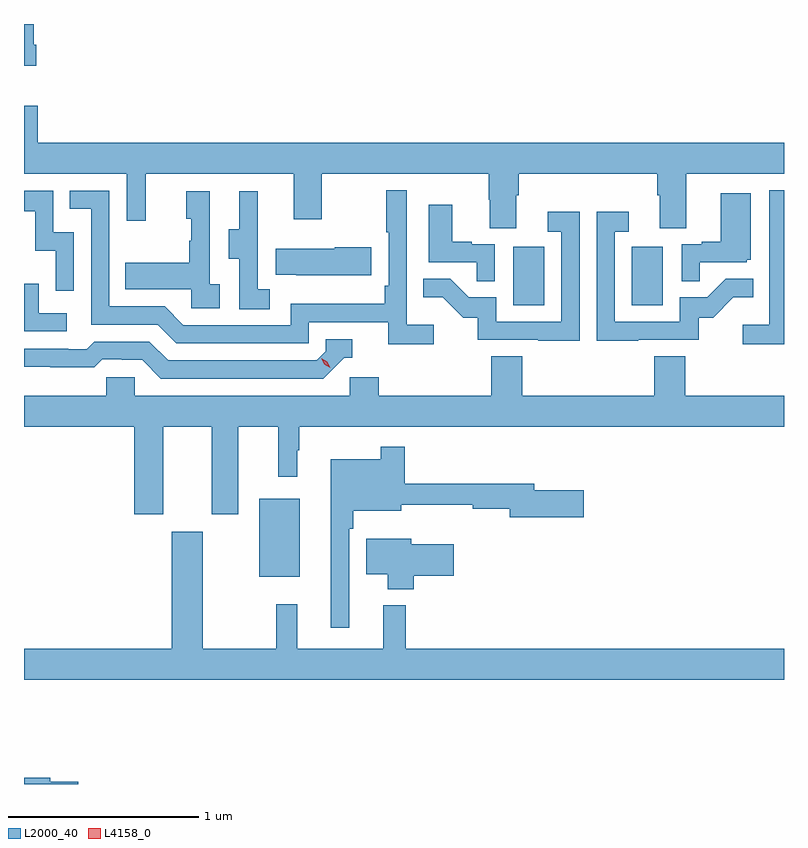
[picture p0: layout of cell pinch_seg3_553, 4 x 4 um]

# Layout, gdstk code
import gdstk
lib = gdstk.Library(unit=1e-6, precision=1e-09)
def R(c, l, rs):  # rectangles x0, y0, x1, y1
    for r in rs: c.add(gdstk.rectangle(r[:2], r[2:], *l))
def P(c, l, *ps):  # polygons
    for p in ps: c.add(gdstk.Polygon(p, *l))
L2000_40 = (2000, 40)
L4158_0 = (4158, 0)

pinch_seg3_553 = lib.new_cell('pinch_seg3_553')
R(pinch_seg3_553, L2000_40, [(1105.082,702.791,1105.297,703.201), (1106.42,704.22,1106.584,704.527), (1107.044,704.22,1107.208,704.527)])
P(pinch_seg3_553, L2000_40, [(1103.909,705.592),(1103.896,705.592),(1103.896,705.7),(1103.845,705.7),(1103.845,705.48),(1103.909,705.48)],
  [(1106.437,704.8),(1106.45,704.8),(1106.45,704.912),(1107.179,704.912),(1107.179,704.8),(1107.191,704.8),(1107.191,704.626),(1107.331,704.626),(1107.331,704.912),(1107.845,704.912),(1107.845,705.076),(1103.918,705.076),(1103.918,705.271),(1103.845,705.271),(1103.845,704.912),(1104.387,704.912),(1104.387,704.664),(1104.485,704.664),(1104.485,704.912),(1105.265,704.912),(1105.265,704.673),(1105.413,704.673),(1105.413,704.912),(1106.29,704.912),(1106.29,704.775),(1106.297,704.775),(1106.297,704.626),(1106.437,704.626)],
  [(1106.002,704.116),(1105.86,704.116),(1105.86,704.824),(1105.752,704.824),(1105.752,704.605),(1105.764,704.605),(1105.764,704.323),(1105.744,704.323),(1105.744,704.227),(1105.248,704.227),(1105.248,704.115),(1104.684,704.115),(1104.585,704.214),(1104.294,704.214),(1104.294,704.823),(1104.085,704.823),(1104.085,704.727),(1104.198,704.727),(1104.198,704.118),(1104.548,704.118),(1104.647,704.019),(1105.344,704.019),(1105.344,704.13),(1105.763,704.13),(1105.763,704.014),(1106.002,704.014)],
  [(1107.845,704.824),(1107.768,704.824),(1107.768,704.116),(1107.627,704.116),(1107.627,704.014),(1107.845,704.014)],
  [(1104.108,704.604),(1104,704.604),(1104,704.823),(1103.845,704.823),(1103.845,704.715),(1103.903,704.715),(1103.903,704.507),(1104.012,704.507),(1104.012,704.295),(1104.108,704.295)],
  [(1104.874,704.33),(1104.822,704.33),(1104.822,704.821),(1104.698,704.821),(1104.698,704.676),(1104.724,704.676),(1104.724,704.558),(1104.714,704.558),(1104.714,704.443),(1104.379,704.443),(1104.379,704.303),(1104.726,704.303),(1104.726,704.205),(1104.874,704.205)],
  [(1105.138,704.303),(1105.074,704.303),(1105.074,704.607),(1105.076,704.607),(1105.076,704.821),(1104.977,704.821),(1104.977,704.619),(1104.923,704.619),(1104.923,704.464),(1104.978,704.464),(1104.978,704.2),(1105.138,704.2)],
  [(1107.401,704.445),(1107.648,704.445),(1107.648,704.46),(1107.67,704.46),(1107.67,704.809),(1107.512,704.809),(1107.512,704.554),(1107.413,704.554),(1107.413,704.541),(1107.306,704.541),(1107.306,704.347),(1107.401,704.347)],
  [(1106.322,704.541),(1106.201,704.541),(1106.201,704.554),(1106.098,704.554),(1106.098,704.749),(1105.976,704.749),(1105.976,704.445),(1106.227,704.445),(1106.227,704.347),(1106.322,704.347)],
  [(1106.769,704.713),(1106.601,704.713),(1106.601,704.607),(1106.673,704.607),(1106.673,704.133),(1106.331,704.133),(1106.331,704.262),(1106.186,704.262),(1106.088,704.36),(1105.945,704.36),(1105.945,704.261),(1106.049,704.261),(1106.156,704.154),(1106.233,704.154),(1106.233,704.037),(1106.551,704.037),(1106.551,704.032),(1106.769,704.032)],
  [(1107.077,704.037),(1107.396,704.037),(1107.396,704.154),(1107.472,704.154),(1107.579,704.261),(1107.683,704.261),(1107.683,704.36),(1107.539,704.36),(1107.441,704.262),(1107.297,704.262),(1107.297,704.133),(1106.955,704.133),(1106.955,704.607),(1107.028,704.607),(1107.028,704.713),(1106.859,704.713),(1106.859,704.032),(1107.077,704.032)],
  [(1105.672,704.526),(1105.481,704.526),(1105.481,704.518),(1105.171,704.518),(1105.171,704.381),(1105.279,704.381),(1105.279,704.378),(1105.672,704.378)],
  [(1104.07,704.178),(1103.922,704.178),(1103.922,704.332),(1103.845,704.332),(1103.845,704.082),(1104.07,704.082)],
  [(1105.53,703.944),(1105.573,703.944),(1105.573,704.04),(1105.434,704.04),(1105.434,703.977),(1105.386,703.929),(1104.603,703.929),(1104.504,704.028),(1104.215,704.028),(1104.176,703.989),(1104.077,703.989),(1104.077,703.992),(1103.845,703.992),(1103.845,703.895),(1103.982,703.895),(1103.982,703.893),(1104.215,703.893),(1104.257,703.935),(1104.36,703.935),(1104.36,703.932),(1104.467,703.932),(1104.566,703.833),(1105.419,703.833)],
  [(1104.577,703.58),(1104.833,703.58),(1104.833,703.119),(1104.973,703.119),(1104.973,703.58),(1105.184,703.58),(1105.184,703.317),(1105.282,703.317),(1105.282,703.457),(1105.294,703.457),(1105.294,703.58),(1107.845,703.58),(1107.845,703.744),(1107.326,703.744),(1107.326,703.952),(1107.161,703.952),(1107.161,703.744),(1106.468,703.744),(1106.468,703.952),(1106.303,703.952),(1106.303,703.744),(1105.712,703.744),(1105.712,703.842),(1105.56,703.842),(1105.56,703.744),(1104.429,703.744),(1104.429,703.842),(1104.279,703.842),(1104.279,703.744),(1103.845,703.744),(1103.845,703.58),(1104.425,703.58),(1104.425,703.119),(1104.577,703.119)],
  [(1105.557,703.043),(1105.577,703.043),(1105.577,703.139),(1105.831,703.139),(1105.831,703.169),(1106.206,703.169),(1106.206,703.15),(1106.402,703.15),(1106.402,703.103),(1106.791,703.103),(1106.791,703.245),(1106.53,703.245),(1106.53,703.279),(1105.85,703.279),(1105.85,703.474),(1105.722,703.474),(1105.722,703.408),(1105.46,703.408),(1105.46,702.522),(1105.557,702.522)],
  [(1107.845,702.412),(1105.853,702.412),(1105.853,702.64),(1105.736,702.64),(1105.736,702.412),(1105.283,702.412),(1105.283,702.646),(1105.173,702.646),(1105.173,702.412),(1104.787,702.412),(1104.787,703.027),(1104.623,703.027),(1104.623,702.412),(1103.845,702.412),(1103.845,702.248),(1107.845,702.248)],
  [(1105.895,702.796),(1106.107,702.796),(1106.107,702.961),(1105.882,702.961),(1105.882,702.991),(1105.646,702.991),(1105.646,702.803),(1105.76,702.803),(1105.76,702.725),(1105.895,702.725)],
  [(1104.131,701.712),(1103.984,701.712),(1103.984,701.732),(1103.845,701.732),(1103.845,701.7),(1104.131,701.7)])
P(pinch_seg3_553, L4158_0, [(1105.456,703.89),(1105.425,703.909),(1105.409,703.942),(1105.409,703.942),(1105.409,703.942),(1105.44,703.923),(1105.456,703.89),(1105.456,703.89)])

lib.write_gds('pinch_seg3_553.gds')
